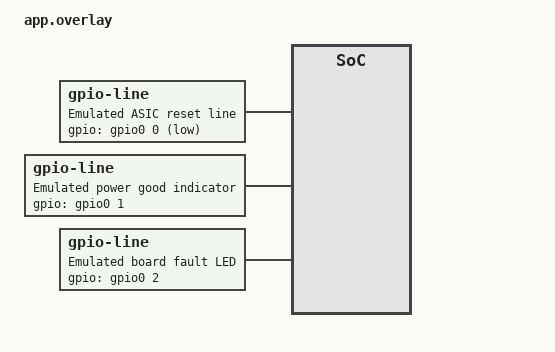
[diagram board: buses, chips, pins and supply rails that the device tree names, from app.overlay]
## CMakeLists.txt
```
# SPDX-License-Identifier: Apache-2.0

cmake_minimum_required(VERSION 3.20.0)
find_package(Zephyr REQUIRED HINTS $ENV{ZEPHYR_BASE})
project(pgood)

FILE(GLOB app_sources src/*.c)
target_sources(app PRIVATE ${app_sources})
```

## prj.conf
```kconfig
CONFIG_ZTEST=y

CONFIG_TT_BH_CHIP=y
CONFIG_EVENTS=y
CONFIG_TT_EVENT=y
CONFIG_GPIO=y
CONFIG_GPIO_EMUL=y

CONFIG_JTAG=y
CONFIG_TT_JTAG_BOOTROM=y
```

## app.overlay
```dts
/*
 * Copyright (c) 2024 Tenstorrent AI ULC
 *
 * SPDX-License-Identifier: Apache-2.0
 */

#include <zephyr/dt-bindings/gpio/gpio.h>

/ {
	asic_reset {
		compatible = "zephyr,gpio-line";
		label = "Emulated ASIC reset line";
		gpios = <&gpio0 0 GPIO_ACTIVE_LOW>;
	};

	pgood {
		compatible = "zephyr,gpio-line";
		label = "Emulated power good indicator";
		gpios = <&gpio0 1 GPIO_ACTIVE_HIGH>;
	};

	board_fault_led {
		compatible = "zephyr,gpio-line";
		label = "Emulated board fault LED";
		gpios = <&gpio0 2 GPIO_ACTIVE_HIGH>;
	};
};
```

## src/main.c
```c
/*
 * Copyright (c) 2025 Tenstorrent AI ULC
 *
 * SPDX-License-Identifier: Apache-2.0
 */

#include <zephyr/drivers/gpio/gpio_emul.h>
#include <zephyr/drivers/gpio.h>
#include <zephyr/ztest.h>

#include <tenstorrent/bh_chip.h>

static struct bh_chip test_chip = {
	.config = {
		.asic_reset = GPIO_DT_SPEC_GET(DT_PATH(asic_reset), gpios),
		.pgood = GPIO_DT_SPEC_GET(DT_PATH(pgood), gpios),
	}};

const struct device *gpio_emul = DEVICE_DT_GET(DT_NODELABEL(gpio0));
static const struct gpio_dt_spec board_fault_led =
	GPIO_DT_SPEC_GET(DT_PATH(board_fault_led), gpios);

ZTEST(pgood, test_pgood)
{
	/* Start with PGOOD high */
	gpio_emul_input_set(gpio_emul, 1, 1);
	/* Manually clear pgood_rise_triggered */
	test_chip.data.pgood_rise_triggered = 0;

	/* Wait 1ms so pgood_last_trip_ms will not be set to 0 */
	k_msleep(1);

	/* Set PGOOD low */
	gpio_emul_input_set(gpio_emul, 1, 0);
	/* Check that PGOOD fall was triggered */
	zassert_true(test_chip.data.pgood_fall_triggered);

	handle_pgood_event(&test_chip, board_fault_led);
	/* Check that PGOOD fall was handled */
	zassert_true(test_chip.data.pgood_last_trip_ms > 0);
	zassert_false(test_chip.data.pgood_fall_triggered);
	zassert_false(test_chip.data.pgood_severe_fault);

	/* Set PGOOD high */
	gpio_emul_input_set(gpio_emul, 1, 1);
	/* Check that PGOOD rise was triggered */
	zassert_true(test_chip.data.pgood_rise_triggered);
	/* Manually clear it because bh_chip_reset_chip can't run here */
	test_chip.data.pgood_rise_triggered = 0;

	/* Set PGOOD low */
	gpio_emul_input_set(gpio_emul, 1, 0);
	zassert_true(test_chip.data.pgood_fall_triggered);

	handle_pgood_event(&test_chip, board_fault_led);
	/* Check that PGOOD fall was handled and severe state was entered */
	zassert_true(test_chip.data.pgood_last_trip_ms > 0);
	zassert_false(test_chip.data.pgood_fall_triggered);
	zassert_true(test_chip.data.pgood_severe_fault);
}

static void before(void *arg)
{
	ARG_UNUSED(arg);

	zassert_ok(pgood_gpio_setup(&test_chip));
}

ZTEST_SUITE(pgood, NULL, NULL, before, NULL, NULL);
```
